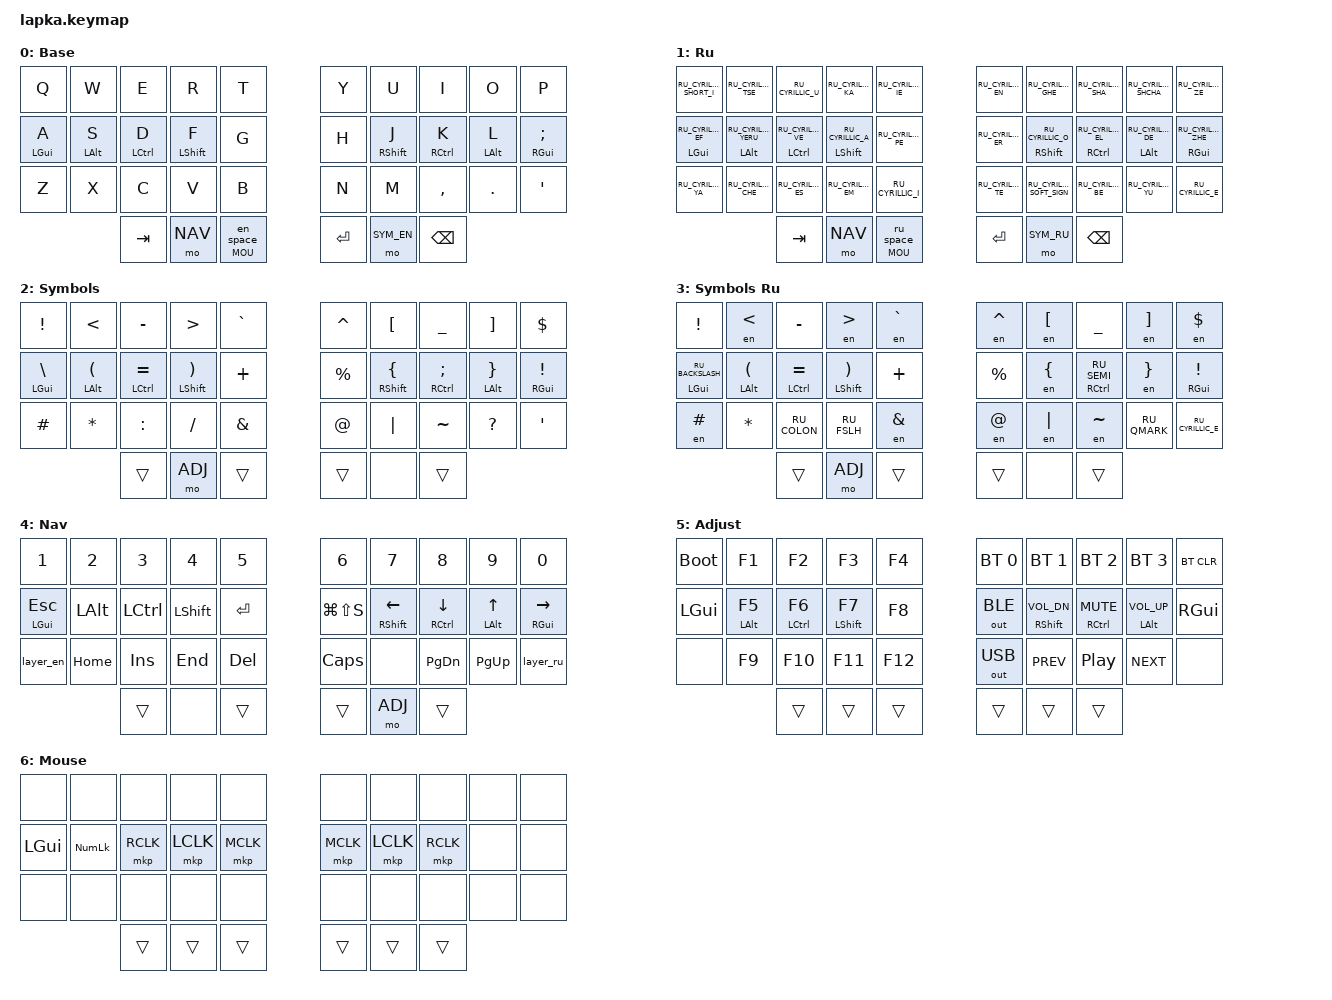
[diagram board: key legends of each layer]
#include "keys_ru.h"
#include <behaviors.dtsi>
#include <dt-bindings/zmk/bt.h>
#include <dt-bindings/zmk/keys.h>
#include <dt-bindings/zmk/outputs.h>
#include <dt-bindings/zmk/pointing.h>

#define EN     0
#define RU     1
#define SYM_EN 2
#define SYM_RU 3
#define NAV    4
#define ADJ    5
#define MOU    6

&mt {
    quick-tap-ms = <200>;
    flavor = "tap-preferred";
    require-prior-idle-ms = <125>;
};

/ {
    behaviors {
        hml: home_row_mod_left {
            compatible = "zmk,behavior-hold-tap";
            #binding-cells = <2>;
            flavor = "balanced";
            require-prior-idle-ms = <150>;
            tapping-term-ms = <280>;
            quick-tap-ms = <175>;
            bindings = <&kp>, <&kp>;
            hold-trigger-key-positions = <5 6 7 8 9 15 16 17 18 19 25 26 27 28 29 33 34 35>;
            hold-trigger-on-release;
        };

        hmr: home_row_mod_right {
            compatible = "zmk,behavior-hold-tap";
            #binding-cells = <2>;
            flavor = "balanced";
            require-prior-idle-ms = <150>;
            tapping-term-ms = <280>;
            quick-tap-ms = <175>;
            bindings = <&kp>, <&kp>;
            hold-trigger-key-positions = <0 1 2 3 4 10 11 12 13 14 20 21 22 23 24 30 31 32>;
            hold-trigger-on-release;
        };

        /* mod-morph: plain tap = SPACE, with GUI = switch to RU (from EN layer) */
        en_space: en_space {
            compatible = "zmk,behavior-mod-morph";
            #binding-cells = <0>;
            bindings = <&kp SPACE>, <&layer_ru>;
            mods = <(MOD_LGUI)>;
        };

        /* mod-morph: plain tap = SPACE, with GUI = switch to EN (from RU layer) */
        ru_space: ru_space {
            compatible = "zmk,behavior-mod-morph";
            #binding-cells = <0>;
            bindings = <&kp SPACE>, <&layer_en>;
            mods = <(MOD_LGUI)>;
        };

        /* hold = MOU layer, tap = en_space (mod-morph) — used on EN layer */
        mlt_en: mouse_layer_tap_en {
            compatible = "zmk,behavior-hold-tap";
            #binding-cells = <2>;
            flavor = "balanced";
            tapping-term-ms = <200>;
            quick-tap-ms = <150>;
            bindings = <&mo>, <&en_space>;
        };

        /* hold = MOU layer, tap = ru_space (mod-morph) — used on RU layer */
        mlt_ru: mouse_layer_tap_ru {
            compatible = "zmk,behavior-hold-tap";
            #binding-cells = <2>;
            flavor = "balanced";
            tapping-term-ms = <200>;
            quick-tap-ms = <150>;
            bindings = <&mo>, <&ru_space>;
        };
    };

    macros {
        /* switch OS to EN (Ctrl+0) and keyboard to EN layer */
        layer_en: layer_en {
            compatible = "zmk,behavior-macro";
            #binding-cells = <0>;
            wait-ms = <0>;
            tap-ms = <30>;
            bindings = <&kp LC(N0) &to EN>;
            label = "LAYER_EN";
        };

        /* switch OS to RU (Ctrl+1) and keyboard to RU layer */
        layer_ru: layer_ru {
            compatible = "zmk,behavior-macro";
            #binding-cells = <0>;
            wait-ms = <0>;
            tap-ms = <30>;
            bindings = <&kp LC(N1) &to RU>;
            label = "LAYER_RU";
        };

        /* switch OS to EN (Ctrl+0) — for use inside &en macro, no layer change */
        to_en: to_en {
            compatible = "zmk,behavior-macro";
            #binding-cells = <0>;
            wait-ms = <0>;
            tap-ms = <30>;
            bindings = <&kp LC(N0)>;
            label = "TO_EN";
        };

        /* switch OS to RU (Ctrl+1) — for use inside &en macro, no layer change */
        to_ru: to_ru {
            compatible = "zmk,behavior-macro";
            #binding-cells = <0>;
            wait-ms = <0>;
            tap-ms = <30>;
            bindings = <&kp LC(N1)>;
            label = "TO_RU";
        };

        en: en {
            compatible = "zmk,behavior-macro-one-param";
            #binding-cells = <1>;
            wait-ms = <0>;
            tap-ms = <30>;
            bindings =
                <&to_en>,
                <&macro_press>,
                <&macro_param_1to1 &kp MACRO_PLACEHOLDER>,
                <&macro_pause_for_release>,
                <&macro_release>,
                <&macro_param_1to1 &kp MACRO_PLACEHOLDER>,
                <&macro_tap>,
                <&to_ru>;
            label = "EN";
        };
    };

    combos {
        compatible = "zmk,combos";

        kha {
            bindings = <&kp RU_CYRILLIC_HA>;
            key-positions = <6 7>;
            layers = <RU>;
        };

        hrdsgn {
            bindings = <&kp RU_CYRILLIC_HARD_SIGN>;
            key-positions = <7 8>;
            layers = <RU>;
        };

        combo_to_ru {
            bindings = <&layer_ru>;
            key-positions = <2 3>;
            layers = <EN>;
        };

        combo_to_en {
            bindings = <&layer_en>;
            key-positions = <2 3>;
            layers = <RU>;
        };

        /* X + C = точка */
        dot_en {
            bindings = <&kp DOT>;
            key-positions = <21 22>;
            layers = <EN>;
        };

        dot_ru {
            bindings = <&kp RU_DOT>;
            key-positions = <21 22>;
            layers = <RU>;
        };

        /* C + V = запятая */
        comma_en {
            bindings = <&kp COMMA>;
            key-positions = <22 23>;
            layers = <EN>;
        };

        comma_ru {
            bindings = <&kp RU_COMMA>;
            key-positions = <22 23>;
            layers = <RU>;
        };
    };

    keymap {
        compatible = "zmk,keymap";

        en {
            display-name = "Base";
            bindings = <
&kp Q        &kp W        &kp E         &kp R          &kp T              &kp Y       &kp U         &kp I         &kp O        &kp P
&hml LGUI A  &hml LALT S  &hml LCTRL D  &hml LSHFT F   &kp G              &kp H       &hmr RSHFT J  &hmr RCTRL K  &hmr LALT L  &hmr RGUI SEMI
&kp Z        &kp X        &kp C         &kp V          &kp B              &kp N       &kp M         &kp COMMA     &kp DOT      &kp SQT
                           &kp TAB       &mo NAV        &mlt_en MOU 0      &kp RET     &mo SYM_EN    &kp BSPC
            >;
        };

        ru {
            display-name = "Ru";
            bindings = <
&kp RU_CYRILLIC_SHORT_I   &kp RU_CYRILLIC_TSE         &kp RU_CYRILLIC_U          &kp RU_CYRILLIC_KA        &kp RU_CYRILLIC_IE            &kp RU_CYRILLIC_EN  &kp RU_CYRILLIC_GHE        &kp RU_CYRILLIC_SHA        &kp RU_CYRILLIC_SHCHA     &kp RU_CYRILLIC_ZE
&hml LGUI RU_CYRILLIC_EF  &hml LALT RU_CYRILLIC_YERU  &hml LCTRL RU_CYRILLIC_VE  &hml LSHFT RU_CYRILLIC_A  &kp RU_CYRILLIC_PE            &kp RU_CYRILLIC_ER  &hmr RSHFT RU_CYRILLIC_O   &hmr RCTRL RU_CYRILLIC_EL  &hmr LALT RU_CYRILLIC_DE  &hmr RGUI RU_CYRILLIC_ZHE
&kp RU_CYRILLIC_YA        &kp RU_CYRILLIC_CHE         &kp RU_CYRILLIC_ES         &kp RU_CYRILLIC_EM        &kp RU_CYRILLIC_I             &kp RU_CYRILLIC_TE  &kp RU_CYRILLIC_SOFT_SIGN  &kp RU_CYRILLIC_BE         &kp RU_CYRILLIC_YU        &kp RU_CYRILLIC_E
                                                        &kp TAB                    &mo NAV                   &mlt_ru MOU 0                 &kp RET             &mo SYM_RU                 &kp BSPC
            >;
        };

        sym_en {
            display-name = "Symbols";
            bindings = <
&kp EXCL        &kp LT          &kp MINUS         &kp GT           &kp GRAVE          &kp CARET   &kp LBKT         &kp UNDER        &kp RBKT        &kp DLLR
&hml LGUI BSLH  &hml LALT LPAR  &hml LCTRL EQUAL  &hml LSHFT RPAR  &kp PLUS           &kp PRCNT   &hmr RSHFT LBRC  &hmr RCTRL SEMI  &hmr LALT RBRC  &hmr RGUI EXCL
&kp HASH        &kp STAR        &kp COLON         &kp FSLH         &kp AMPS           &kp AT      &kp PIPE         &kp TILDE        &kp QMARK       &kp SQT
                                  &trans            &mo ADJ          &trans             &trans      &none            &trans
            >;
        };

        sym_ru {
            display-name = "Symbols Ru";
            bindings = <
&kp EXCL                &en LT          &kp MINUS         &en GT           &en GRAVE          &en CARET   &en LBKT         &kp UNDER           &en RBKT        &en DLLR
&hml LGUI RU_BACKSLASH  &hml LALT LPAR  &hml LCTRL EQUAL  &hml LSHFT RPAR  &kp PLUS           &kp PRCNT   &en LBRC         &hmr RCTRL RU_SEMI  &en RBRC        &hmr RGUI EXCL
&en HASH                &kp STAR        &kp RU_COLON      &kp RU_FSLH      &en AMPS           &en AT      &en PIPE         &en TILDE           &kp RU_QMARK    &kp RU_CYRILLIC_E
                                          &trans            &mo ADJ          &trans             &trans      &none            &trans
            >;
        };

        nav {
            display-name = "Nav";
            bindings = <
&kp N1         &kp N2    &kp N3     &kp N4     &kp N5             &kp N6          &kp N7           &kp N8           &kp N9        &kp N0
&hml LGUI ESC  &kp LALT  &kp LCTRL  &kp LSHFT  &kp ENTER          &kp LG(LS(S))   &hmr RSHFT LEFT  &hmr RCTRL DOWN  &hmr LALT UP  &hmr RGUI RIGHT
&layer_en    &kp HOME  &kp INS    &kp END    &kp DEL            &kp CAPS        &none            &kp PG_DN        &kp PG_UP     &layer_ru
                          &trans     &none      &trans             &trans          &mo ADJ          &trans
            >;
        };

        adj {
            display-name = "Adjust";
            bindings = <
&bootloader  &kp F1        &kp F2         &kp F3         &kp F4             &bt BT_SEL 0  &bt BT_SEL 1         &bt BT_SEL 2       &bt BT_SEL 3        &bt BT_CLR
&kp LGUI     &hml LALT F5  &hml LCTRL F6  &hml LSHFT F7  &kp F8             &out OUT_BLE  &hmr RSHFT C_VOL_DN  &hmr RCTRL C_MUTE  &hmr LALT C_VOL_UP  &kp RGUI
&none        &kp F9        &kp F10        &kp F11        &kp F12            &out OUT_USB  &kp C_PREV           &kp C_PP           &kp C_NEXT          &none
                            &trans         &trans         &trans             &trans        &trans               &trans
            >;
        };

        mouse {
            display-name = "Mouse";
            bindings = <
&none       &none       &none        &none        &none              &none       &none        &none        &none       &none
&kp LGUI    &kp KP_NUM  &mkp RCLK    &mkp LCLK    &mkp MCLK          &mkp MCLK   &mkp LCLK    &mkp RCLK    &none       &none
&none       &none       &none        &none        &none              &none       &none        &none        &none       &none
                         &trans       &trans       &trans             &trans      &trans       &trans
            >;
        };
    };
};
